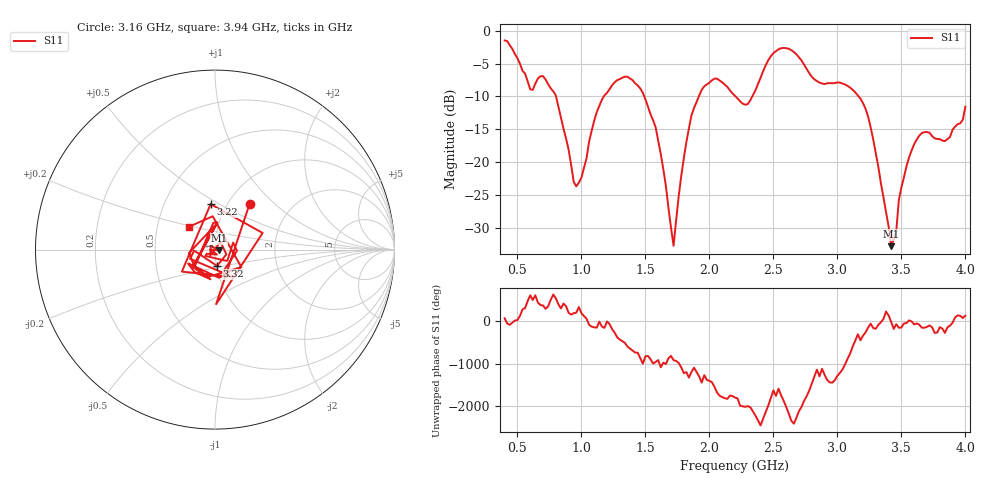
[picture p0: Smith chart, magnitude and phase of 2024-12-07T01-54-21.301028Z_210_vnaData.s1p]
!Created with skrf (http://scikit-rf.org).
# Hz S RI R 50.0
!freq ReS11 ImS11
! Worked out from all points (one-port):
!   181 points, 400 MHz to 4 GHz, reference 50 ohm
!   lowest |S11| = -32.8 dB at 3.42 GHz (marker M1), VSWR 1.05, Z = 52.3 - j0.505 ohm
!   |S11| at or under -10 dB: 802 MHz to 1.175 GHz (373.3 MHz wide, 37.8 % of centre); 1.491 GHz to 1.917 GHz (426.4 MHz wide, 25 % of centre); 3.165 GHz to end of sweep (the widest 3 of 4)
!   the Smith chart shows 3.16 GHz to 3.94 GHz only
!   S11 on the Smith chart (normalised r, x): 3.16 GHz: 1.25, +0.71; 3.22 GHz: 0.84, +0.45; 3.32 GHz: 1.01, -0.18; 3.94 GHz: 0.72, +0.19
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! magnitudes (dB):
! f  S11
! 400 MHz  -1.5
! 600 MHz  -8.9
! 720 MHz  -7.4
! 860 MHz  -14.9
! 960 MHz  -23.7
! 1.12 GHz  -12.4
! 1.3 GHz  -7.4
! 1.46 GHz  -8.8
! 1.58 GHz  -14.7
! 1.72 GHz  -32.8
! 1.76 GHz  -25.2
! 1.86 GHz  -12.9
! 1.94 GHz  -9.0
! 2.06 GHz  -7.3
! 2.2 GHz  -9.9
! 2.3 GHz  -11.2
! 2.5 GHz  -3.4
! 2.66 GHz  -3.2
! 2.84 GHz  -7.7
! 3.1 GHz  -8.7
! 3.16 GHz  -9.9
! 3.22 GHz  -11.9
! 3.32 GHz  -20.8
! 3.42 GHz  -32.8
! 3.56 GHz  -19.3
! 3.66 GHz  -15.6
! 3.94 GHz  -14.2
! 4 GHz  -11.6
